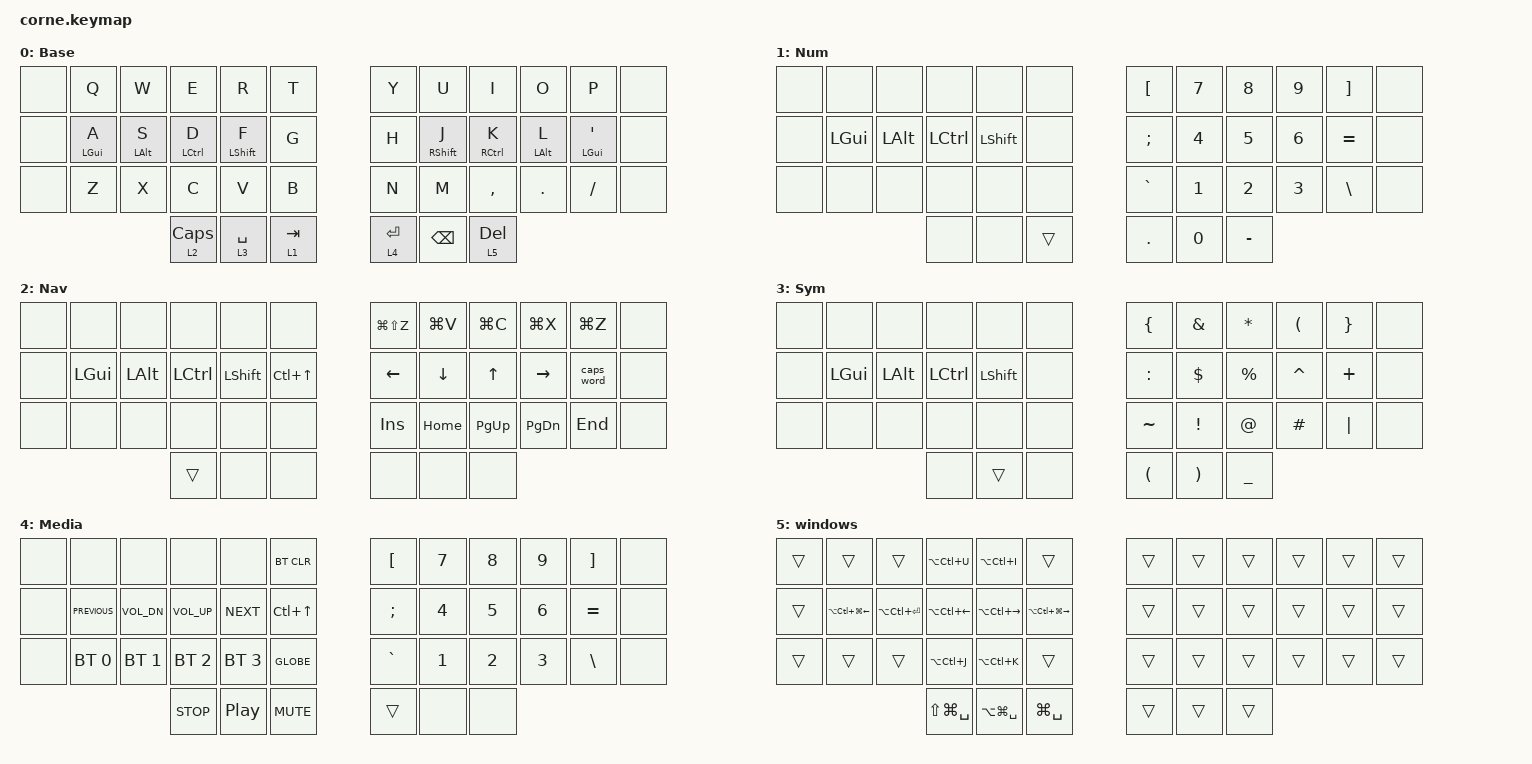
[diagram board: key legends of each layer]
/*
 * Copyright (c) 2020 The ZMK Contributors
 *
 * SPDX-License-Identifier: MIT
 */

#include <dt-bindings/zmk/behaviors.h>
#include <behaviors.dtsi>
#include <dt-bindings/zmk/bt.h>
#include <dt-bindings/zmk/keys.h>

/* Keyboard mission controll */

#define MISSION (ZMK_HID_USAGE(HID_USAGE_KEY, 0xC1))

/ {
    behaviors {
        mt: mod_tap {
            compatible = "zmk,behavior-hold-tap";
            #binding-cells = <2>;
            flavor = "balanced";
            tapping-term-ms = <300>;
            bindings = <&kp>, <&kp>;

            display-name = "Mod-Tap";
        };
    };

    keymap {
        compatible = "zmk,keymap";

        default_layer {
            // -----------------------------------------------------------------------------------------
            // |  TAB |  Q  |  W  |  E  |  R  |  T  |   |  Y  |  U   |  I  |  O  |  P  | BKSP |
            // | CTRL |  A  |  S  |  D  |  F  |  G  |   |  H  |  J   |  K  |  L  |  ;  |  '   |
            // | SHFT |  Z  |  X  |  C  |  V  |  B  |   |  N  |  M   |  ,  |  .  |  /  | ESC  |
            //                    | GUI | LWR | SPC |   | ENT | RSE  | ALT |

            display-name = "Base";
            bindings = <
&none  &kp Q           &kp W           &kp E           &kp R        &kp T        &kp Y      &kp U          &kp I         &kp O           &kp P                      &none
&none  &mt LEFT_GUI A  &mt LEFT_ALT S  &mt LCTRL D     &mt LSHFT F  &kp G        &kp H      &mt RSHIFT J   &mt RCTRL K   &mt LEFT_ALT L  &mt LEFT_GUI SINGLE_QUOTE  &none
&none  &kp Z           &kp X           &kp C           &kp V        &kp B        &kp N      &kp M          &kp COMMA     &kp DOT         &kp FSLH                   &none
                                       &lt 2 CAPSLOCK  &lt 3 SPACE  &lt 1 TAB    &lt 4 RET  &kp BACKSPACE  &lt 5 DELETE
            >;
        };

        num_layer {
            // -----------------------------------------------------------------------------------------
            // |  TAB |  1  |  2  |  3  |  4  |  5  |   |  6  |  7  |  8  |  9  |  0  | BKSP |
            // | BTCLR| BT1 | BT2 | BT3 | BT4 | BT5 |   | LFT | DWN |  UP | RGT |     |      |
            // | SHFT |     |     |     |     |     |   |     |     |     |     |     |      |
            //                    | GUI |     | SPC |   | ENT |     | ALT |

            display-name = "Num";
            bindings = <
&none  &none         &none         &none      &none      &none     &kp LBKT    &kp N7  &kp N8     &kp N9  &kp RBKT       &none
&none  &kp LEFT_GUI  &kp LEFT_ALT  &kp LCTRL  &kp LSHFT  &none     &kp SEMI    &kp N4  &kp N5     &kp N6  &kp EQUAL      &none
&none  &none         &none         &none      &none      &none     &kp GRAVE   &kp N1  &kp N2     &kp N3  &kp BACKSLASH  &none
                                   &none      &none      &trans    &kp PERIOD  &kp N0  &kp MINUS
            >;
        };

        nav-layer {
            // -----------------------------------------------------------------------------------------
            // |  TAB |  !  |  @  |  #  |  $  |  %  |   |  ^  |  &  |  *  |  (  |  )  | BKSP |
            // | CTRL |     |     |     |     |     |   |  -  |  =  |  [  |  ]  |  \  |  `   |
            // | SHFT |     |     |     |     |     |   |  _  |  +  |  {  |  }  | "|" |  ~   |
            //                    | GUI |     | SPC |   | ENT |     | ALT |

            display-name = "Nav";
            bindings = <
&none  &none         &none         &none      &none      &none               &kp LG(LS(Z))  &kp LG(V)  &kp LG(C)    &kp LG(X)      &kp LG(Z)   &none
&none  &kp LEFT_GUI  &kp LEFT_ALT  &kp LCTRL  &kp LSHFT  &kp LC(UP_ARROW)    &kp LEFT       &kp DOWN   &kp UP       &kp RIGHT      &caps_word  &none
&none  &none         &none         &none      &none      &none               &kp INS        &kp HOME   &kp PAGE_UP  &kp PAGE_DOWN  &kp END     &none
                                   &trans     &none      &none               &none          &none      &none
            >;
        };

        sym-layer {
            // -----------------------------------------------------------------------------------------
            // |  TAB |  !  |  @  |  #  |  $  |  %  |   |  ^  |  &  |  *  |  (  |  )  | BKSP |
            // | CTRL |     |     |     |     |     |   |  -  |  =  |  [  |  ]  |  \  |  `   |
            // | SHFT |     |     |     |     |     |   |  _  |  +  |  {  |  }  | "|" |  ~   |
            //                    | GUI |     | SPC |   | ENT |     | ALT |

            display-name = "Sym";
            bindings = <
&none  &none         &none         &none      &none      &none    &kp LEFT_BRACE        &kp AMPERSAND          &kp ASTERISK    &kp LEFT_PARENTHESIS  &kp RIGHT_BRACE  &none
&none  &kp LEFT_GUI  &kp LEFT_ALT  &kp LCTRL  &kp LSHFT  &none    &kp COLON             &kp DOLLAR             &kp PERCENT     &kp CARET             &kp PLUS         &none
&none  &none         &none         &none      &none      &none    &kp TILDE             &kp EXCLAMATION        &kp AT_SIGN     &kp HASH              &kp PIPE         &none
                                   &none      &trans     &none    &kp LEFT_PARENTHESIS  &kp RIGHT_PARENTHESIS  &kp UNDERSCORE
            >;
        };

        media-layer {
            // -----------------------------------------------------------------------------------------
            // |  TAB |  !  |  @  |  #  |  $  |  %  |   |  ^  |  &  |  *  |  (  |  )  | BKSP |
            // | CTRL |     |     |     |     |     |   |  -  |  =  |  [  |  ]  |  \  |  `   |
            // | SHFT |     |     |     |     |     |   |  _  |  +  |  {  |  }  | "|" |  ~   |
            //                    | GUI |     | SPC |   | ENT |     | ALT |

            display-name = "Media";
            bindings = <
&none  &none           &none         &none         &none             &bt BT_CLR          &kp LBKT   &kp N7  &kp N8  &kp N9  &kp RBKT       &none
&none  &kp C_PREVIOUS  &kp C_VOL_DN  &kp C_VOL_UP  &kp C_NEXT        &kp LC(UP_ARROW)    &kp SEMI   &kp N4  &kp N5  &kp N6  &kp EQUAL      &none
&none  &bt BT_SEL 0    &bt BT_SEL 1  &bt BT_SEL 2  &bt BT_SEL 3      &kp GLOBE           &kp GRAVE  &kp N1  &kp N2  &kp N3  &kp BACKSLASH  &none
                                     &kp C_STOP    &kp C_PLAY_PAUSE  &kp C_MUTE          &trans     &none   &none
            >;
        };

        windows {
            bindings = <
&trans  &trans                &trans             &kp LA(LC(U))      &kp LA(LC(I))      &trans                   &trans  &trans  &trans  &trans  &trans  &trans
&trans  &kp LA(LC(LG(LEFT)))  &kp LA(LC(ENTER))  &kp LA(LC(LEFT))   &kp LA(LC(RIGHT))  &kp LA(LC(LG(RIGHT)))    &trans  &trans  &trans  &trans  &trans  &trans
&trans  &trans                &trans             &kp LA(LC(J))      &kp LA(LC(K))      &trans                   &trans  &trans  &trans  &trans  &trans  &trans
                                                 &kp LS(LG(SPACE))  &kp LA(LG(SPACE))  &kp LG(SPACE)            &trans  &trans  &trans
            >;
        };
    };
};
